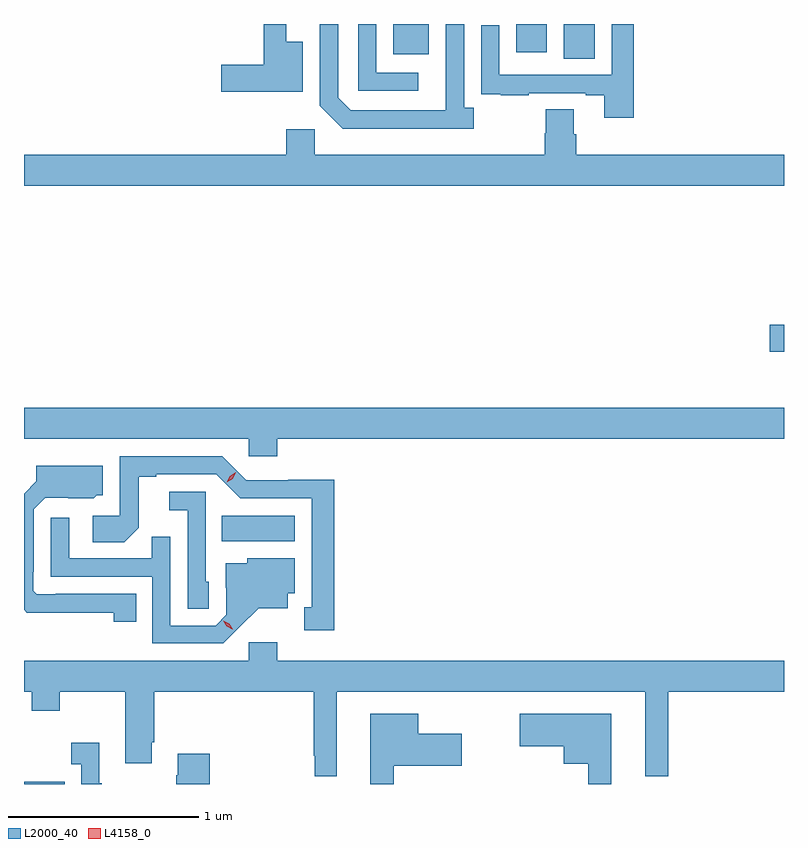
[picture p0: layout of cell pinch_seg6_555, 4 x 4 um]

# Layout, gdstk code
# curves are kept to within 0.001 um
import gdstk
lib = gdstk.Library(unit=1e-6, precision=1e-09)
def R(c, l, rs):  # rectangles x0, y0, x1, y1
    for r in rs: c.add(gdstk.rectangle(r[:2], r[2:], *l))
def P(c, l, *ps):  # polygons
    for p in ps: c.add(gdstk.Polygon(p, *l))
L2000_40 = (2000, 40)
L4158_0 = (4158, 0)

pinch_seg6_555 = lib.new_cell('pinch_seg6_555')
R(pinch_seg6_555, L2000_40, [(598.53,956.175,598.745,956.187), (599.572,957.452,599.956,957.586), (602.454,958.45,602.53,958.592), (601.37,959.992,601.534,960.175), (600.473,960.017,600.661,960.175), (601.121,960.027,601.282,960.175)])
P(pinch_seg6_555, L2000_40, [(600.898,959.734),(600.846,959.734),(600.846,960.175),(600.75,960.175),(600.749,959.721),(600.249,959.721),(600.183,959.787),(600.183,960.175),(600.087,960.175),(600.087,959.745),(600.208,959.624),(600.898,959.624)],
  [(600.604,959.919),(600.384,959.919),(600.384,960.175),(600.288,960.175),(600.288,959.823),(600.604,959.823)],
  [(599.998,960.082),(599.909,960.082),(599.909,960.175),(599.791,960.175),(599.791,959.96),(599.568,959.96),(599.568,959.818),(599.998,959.818)],
  [(601.739,960.175),(601.623,960.175),(601.623,959.907),(601.032,959.907),(601.032,960.169),(600.936,960.169),(600.936,959.914),(600.937,959.914),(600.937,959.805),(601.039,959.805),(601.039,959.799),(601.187,959.799),(601.187,959.811),(601.487,959.811),(601.487,959.799),(601.583,959.799),(601.583,959.682),(601.739,959.682)],
  [(602.53,959.488),(601.436,959.488),(601.436,959.594),(601.423,959.594),(601.423,959.726),(601.276,959.726),(601.276,959.601),(601.271,959.601),(601.271,959.488),(600.06,959.488),(600.06,959.62),(599.909,959.62),(599.909,959.488),(598.53,959.488),(598.53,959.324),(602.53,959.324)],
  [(599.864,957.992),(602.53,957.992),(602.53,958.156),(598.53,958.156),(598.53,957.992),(599.712,957.992),(599.712,957.899),(599.864,957.899)],
  [(600.163,957.776),(599.922,957.776),(599.922,957.774),(599.7,957.774),(599.574,957.9),(599.034,957.9),(599.034,957.588),(598.893,957.588),(598.893,957.448),(599.057,957.448),(599.133,957.524),(599.133,957.792),(599.227,957.792),(599.227,957.804),(599.541,957.804),(599.667,957.678),(600.044,957.678),(600.044,957.105),(600.005,957.105),(600.005,956.985),(600.163,956.985)],
  [(599.12,957.177),(598.696,957.177),(598.696,957.174),(598.596,957.174),(598.578,957.192),(598.578,957.292),(598.581,957.292),(598.581,957.621),(598.641,957.681),(598.898,957.68),(598.914,957.696),(598.945,957.696),(598.945,957.85),(598.595,957.85),(598.595,957.768),(598.53,957.703),(598.53,957.091),(598.544,957.077),(599.002,957.076),(599.002,957.03),(599.12,957.03)],
  [(599.502,957.24),(599.487,957.24),(599.487,957.714),(599.295,957.714),(599.295,957.617),(599.391,957.617),(599.391,957.097),(599.502,957.097)],
  [(599.662,956.999),(599.765,957.101),(599.917,957.101),(599.917,957.18),(599.956,957.18),(599.956,957.364),(599.706,957.364),(599.706,957.337),(599.591,957.337),(599.591,957.208),(599.595,957.208),(599.595,957.066),(599.538,957.009),(599.301,957.009),(599.301,957.476),(599.203,957.476),(599.203,957.363),(598.767,957.363),(598.767,957.577),(598.671,957.577),(598.671,957.267),(599.205,957.267),(599.205,956.916),(599.578,956.916)],
  [(600.175,956.66),(601.799,956.66),(601.799,956.216),(601.921,956.216),(601.921,956.66),(602.53,956.66),(602.53,956.824),(599.864,956.824),(599.864,956.92),(599.712,956.92),(599.712,956.824),(598.53,956.824),(598.53,956.66),(598.571,956.66),(598.571,956.561),(598.719,956.561),(598.719,956.66),(599.063,956.66),(599.063,956.283),(599.203,956.283),(599.203,956.395),(599.216,956.395),(599.216,956.66),(600.054,956.66),(600.054,956.323),(600.06,956.323),(600.06,956.216),(600.175,956.216)],
  [(600.475,956.27),(600.835,956.27),(600.835,956.44),(600.604,956.44),(600.604,956.545),(600.353,956.545),(600.353,956.175),(600.475,956.175)],
  [(601.621,956.545),(601.14,956.545),(601.14,956.375),(601.37,956.375),(601.37,956.282),(601.5,956.282),(601.5,956.175),(601.621,956.175)],
  [(598.939,956.179),(598.927,956.179),(598.927,956.392),(598.779,956.392),(598.779,956.279),(598.83,956.279),(598.83,956.175),(598.939,956.175)],
  [(599.507,956.335),(599.339,956.335),(599.339,956.222),(599.332,956.222),(599.332,956.175),(599.507,956.175)])
P(pinch_seg6_555, L4158_0, [(599.596,957.762),(599.596,957.763),(599.613,957.796),(599.644,957.815),(599.644,957.815),(599.644,957.815),(599.628,957.782),(599.596,957.762)],
  [(599.627,956.989),(599.596,957.004),(599.579,957.033),(599.579,957.034),(599.579,957.034),(599.61,957.019),(599.628,956.989),(599.628,956.989)])

lib.write_gds('pinch_seg6_555.gds')
